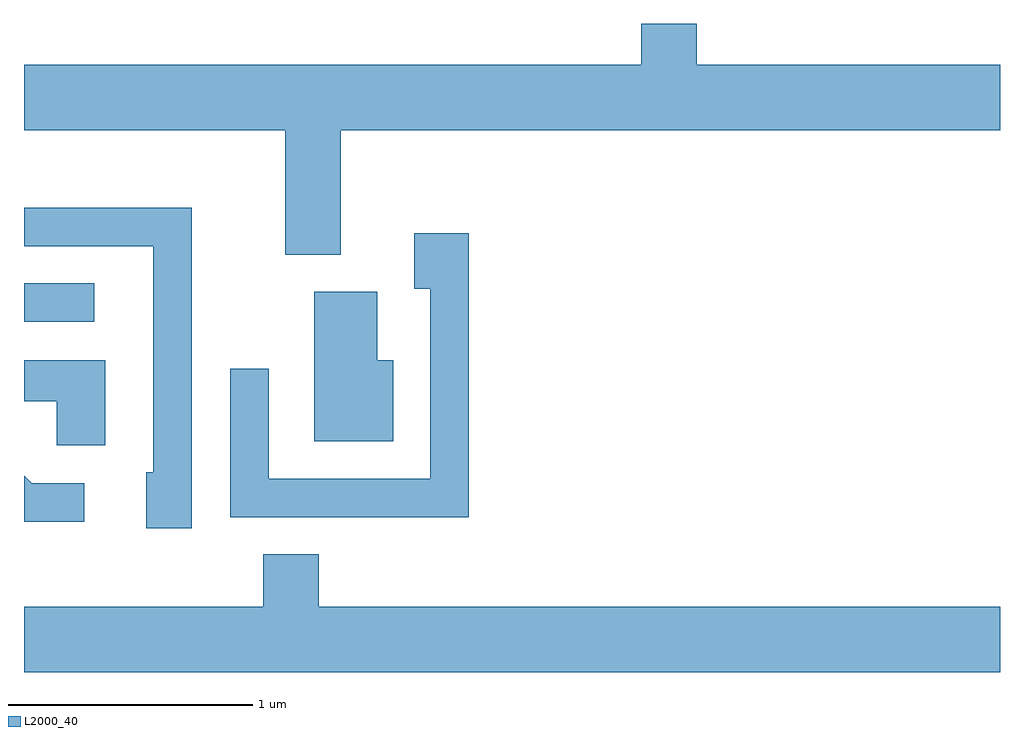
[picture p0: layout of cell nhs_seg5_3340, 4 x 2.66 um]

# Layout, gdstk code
import gdstk
lib = gdstk.Library(unit=1e-6, precision=1e-09)
def R(c, l, rs):  # rectangles x0, y0, x1, y1
    for r in rs: c.add(gdstk.rectangle(r[:2], r[2:], *l))
def P(c, l, *ps):  # polygons
    for p in ps: c.add(gdstk.Polygon(p, *l))
L2000_40 = (2000, 40)

nhs_seg5_3340 = lib.new_cell('nhs_seg5_3340')
R(nhs_seg5_3340, L2000_40, [(283.611,1504.851,283.898,1505.009)])
P(nhs_seg5_3340, L2000_40, [(287.611,1505.904),(286.369,1505.904),(286.369,1506.072),(286.141,1506.072),(286.141,1505.904),(283.611,1505.904),(283.611,1505.636),(284.681,1505.636),(284.681,1505.126),(284.909,1505.126),(284.909,1505.636),(287.611,1505.636)],
  [(284.299,1505.319),(283.611,1505.319),(283.611,1505.161),(284.141,1505.161),(284.141,1504.234),(284.111,1504.234),(284.111,1504.006),(284.299,1504.006)],
  [(285.434,1505.214),(285.211,1505.214),(285.211,1504.986),(285.276,1504.986),(285.276,1504.209),(284.614,1504.209),(284.614,1504.658),(284.456,1504.658),(284.456,1504.051),(285.434,1504.051)],
  [(285.124,1504.694),(285.059,1504.694),(285.059,1504.974),(284.801,1504.974),(284.801,1504.361),(285.124,1504.361)],
  [(283.944,1504.694),(283.611,1504.694),(283.611,1504.526),(283.746,1504.526),(283.746,1504.346),(283.944,1504.346)],
  [(283.858,1504.189),(283.642,1504.189),(283.611,1504.22),(283.611,1504.031),(283.858,1504.031)],
  [(287.611,1503.684),(284.819,1503.684),(284.819,1503.899),(284.591,1503.899),(284.591,1503.684),(283.611,1503.684),(283.611,1503.416),(287.611,1503.416)])

lib.write_gds('nhs_seg5_3340.gds')
